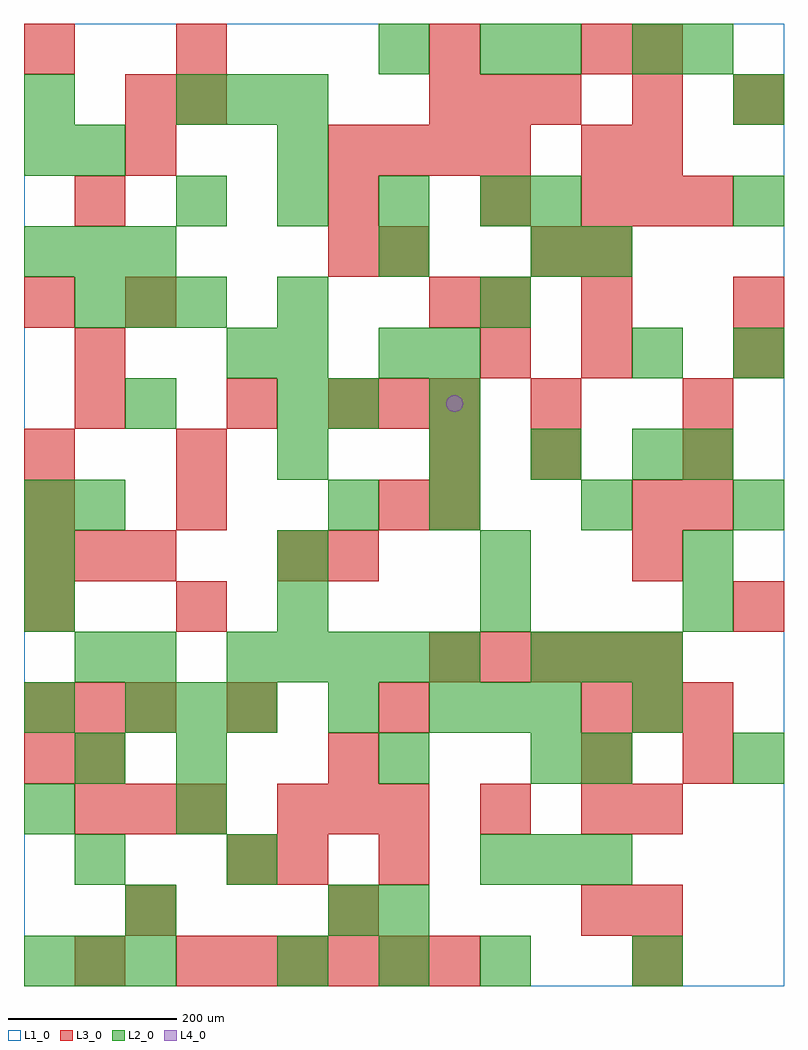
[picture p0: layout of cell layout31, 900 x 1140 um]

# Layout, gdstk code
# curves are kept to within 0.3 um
import gdstk
lib = gdstk.Library(unit=1e-6, precision=1e-09)
def R(c, l, rs):  # rectangles x0, y0, x1, y1
    for r in rs: c.add(gdstk.rectangle(r[:2], r[2:], *l))
def A(c, l, x, y, w, h, nx, ny, dx, dy):  # array of equal rectangles
    R(c, l, [(x+i*dx, y+j*dy, x+i*dx+w, y+j*dy+h) for i in range(nx) for j in range(ny)])
def P(c, l, *ps):  # polygons
    for p in ps: c.add(gdstk.Polygon(p, *l))
L1_0 = (1, 0)
L2_0 = (2, 0)
L3_0 = (3, 0)
L4_0 = (4, 0)

layout31 = lib.new_cell('layout31')
R(layout31, L1_0, [(0,0,900,1140)])
A(layout31, L2_0, 0, 0, 60, 60, 3, 2, 60, 840)
A(layout31, L2_0, 300, 0, 60, 60, 3, 1, 120, 0)
A(layout31, L2_0, 120, 60, 60, 60, 1, 3, 0, 300)
A(layout31, L2_0, 360, 60, 60, 60, 1, 3, 0, 240)
A(layout31, L2_0, 60, 120, 60, 60, 1, 3, 0, 120)
A(layout31, L2_0, 540, 120, 60, 60, 3, 1, 60, 0)
A(layout31, L2_0, 0, 180, 60, 60, 1, 3, 0, 120)
A(layout31, L2_0, 120, 300, 60, 60, 3, 1, 60, 0)
A(layout31, L2_0, 480, 300, 60, 60, 3, 1, 60, 0)
A(layout31, L2_0, 240, 360, 60, 60, 5, 1, 60, 0)
A(layout31, L2_0, 600, 360, 60, 60, 3, 1, 60, 0)
A(layout31, L2_0, 300, 420, 60, 60, 3, 2, 240, 60)
A(layout31, L2_0, 480, 540, 60, 60, 3, 1, 180, 0)
A(layout31, L2_0, 300, 600, 60, 60, 1, 4, 0, 60)
A(layout31, L2_0, 480, 600, 60, 60, 3, 1, 120, 0)
A(layout31, L2_0, 60, 780, 60, 60, 3, 1, 60, 0)
A(layout31, L2_0, 180, 900, 60, 60, 4, 1, 120, 0)
A(layout31, L2_0, 180, 1020, 60, 60, 3, 1, 60, 0)
R(layout31, L2_0, [(720,0,780,60), (420,60,480,120), (240,120,300,180), (180,180,240,240), (180,240,240,300), (420,240,480,300), (600,240,660,300), (660,240,720,300), (840,240,900,300), (720,300,780,360), (0,480,60,540), (0,540,60,600), (60,540,120,600), (780,600,840,660), (360,660,420,720), (480,660,540,720), (240,720,300,780), (420,720,480,780), (480,720,540,780), (720,720,780,780), (840,720,900,780), (540,780,600,840), (420,840,480,900), (600,840,660,900), (660,840,720,900), (600,900,660,960), (840,900,900,960), (0,960,60,1020), (60,960,120,1020), (300,960,360,1020), (0,1020,60,1080), (840,1020,900,1080), (420,1080,480,1140), (540,1080,600,1140), (600,1080,660,1140), (720,1080,780,1140), (780,1080,840,1140)])
A(layout31, L3_0, 180, 0, 60, 60, 6, 1, 60, 0)
A(layout31, L3_0, 60, 180, 60, 60, 3, 1, 60, 0)
A(layout31, L3_0, 300, 180, 60, 60, 3, 1, 60, 0)
A(layout31, L3_0, 60, 240, 60, 60, 3, 1, 300, 0)
A(layout31, L3_0, 0, 300, 60, 60, 3, 2, 60, 180)
A(layout31, L3_0, 660, 300, 60, 60, 3, 2, 60, 600)
A(layout31, L3_0, 480, 360, 60, 60, 5, 1, 60, 0)
A(layout31, L3_0, 780, 540, 60, 60, 1, 3, 0, 60)
A(layout31, L3_0, 360, 660, 60, 60, 3, 1, 60, 0)
A(layout31, L3_0, 660, 720, 60, 60, 1, 3, 0, 60)
A(layout31, L3_0, 360, 960, 60, 60, 4, 1, 60, 0)
A(layout31, L3_0, 720, 960, 60, 60, 1, 3, 0, 60)
A(layout31, L3_0, 480, 1020, 60, 60, 3, 1, 60, 0)
R(layout31, L3_0, [(60,0,120,60), (720,0,780,60), (120,60,180,120), (360,60,420,120), (660,60,720,120), (720,60,780,120), (240,120,300,180), (300,120,360,180), (420,120,480,180), (540,180,600,240), (660,180,720,240), (720,180,780,240), (0,240,60,300), (780,240,840,300), (240,300,300,360), (420,300,480,360), (0,420,60,480), (180,420,240,480), (840,420,900,480), (300,480,360,540), (360,480,420,540), (720,480,780,540), (0,540,60,600), (180,540,240,600), (420,540,480,600), (480,540,540,600), (720,540,780,600), (0,600,60,660), (180,600,240,660), (480,600,540,660), (600,600,660,660), (60,660,120,720), (240,660,300,720), (600,660,660,720), (60,720,120,780), (540,720,600,780), (840,720,900,780), (0,780,60,840), (120,780,180,840), (480,780,540,840), (540,780,600,840), (840,780,900,840), (360,840,420,900), (420,840,480,900), (600,840,660,900), (60,900,120,960), (360,900,420,960), (540,900,600,960), (120,960,180,1020), (660,960,720,1020), (120,1020,180,1080), (180,1020,240,1080), (840,1020,900,1080), (0,1080,60,1140), (180,1080,240,1140), (480,1080,540,1140), (660,1080,720,1140)])
P(layout31, L4_0, [(520,690),(519.239,693.827),(517.071,697.071),(513.827,699.239),(510,700),(506.173,699.239),(502.929,697.071),(500.761,693.827),(500,690),(500.761,686.173),(502.929,682.929),(506.173,680.761),(510,680),(513.827,680.761),(517.071,682.929),(519.239,686.173)])

lib.write_gds('layout31.gds')
